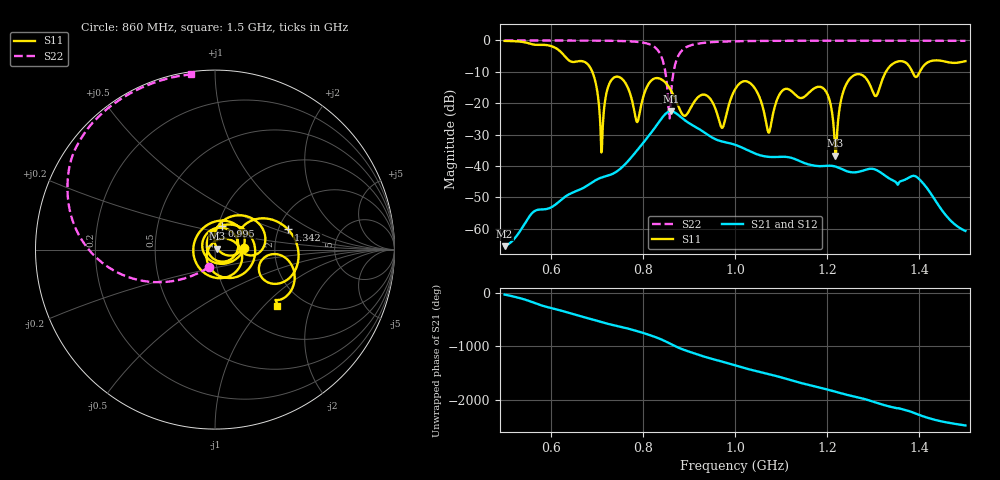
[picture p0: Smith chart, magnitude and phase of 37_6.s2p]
! TOUCHSTONE file generated by CST MICROWAVE STUDIO
! Date and time: Tue Nov 24 13:46:31 2020
! Project name: Scenario_1_Planar_Body_Tissue_Out_of_Line.cst
! Parameters = {dy1=276.8; L_HA=400; Ltissue=700; MT=2.54; Rad_Dielectric=30; Rad_Lower=7.3; Rad_Upper=30; Wtissue=700; a_HA=580; a_WG=246; b_HA=500; b_WG=121; c_HA=0; c_WG=187; d_feed=85; dx1=1039; h_feed=15; h_lower=18; h_upper=40; hfat=3; hgap=25; hmuscle=50; hskin=1.5}
! Header version: 2018
! Port assignment regex: !\s*Touchstone port\s*([0-9]+)\s*=\s*(CST MWS port|CST DS port)\s*([0-9]+|Zmin|Zmax)\s*\(\"(.*)\"\)(\s*mode\s*([0-9]+))?.*
! Touchstone port assignment:
! Touchstone port 1 = CST MWS port 1 ("")
! Touchstone port 2 = CST MWS port 2 ("")
# GHz S DB R 50
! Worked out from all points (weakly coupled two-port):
!   1003 points, 500 MHz to 1.5 GHz, reference 50 ohm
!   highest |S21| = -22.55 dB at 861 MHz (marker M1); lowest = -65.6 dB at 500 MHz (marker M2)
!   lowest |S11| = -36.8 dB at 1.218 GHz (marker M3), VSWR 1.03, Z = 51.4 + j0.454 ohm
!   |S11| at or under -10 dB: 690.3 MHz to 1.328 GHz (637.2 MHz wide, 63.2 % of centre); 1.385 GHz to 1.401 GHz (16.32 MHz wide, 1.17 % of centre)
!   |S22| runs from -24.9 to 0.0 dB; largest |S21 - S12| = 0.00017
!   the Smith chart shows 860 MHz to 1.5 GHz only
!   S11 on the Smith chart (normalised r, x): 860 MHz: 1.39, +0.02; 995 MHz: 1.04, +0.28; 1.342 GHz: 2.26, +0.62; 1.5 GHz: 1.49, -1.19
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0.5  -0.15 -121.7  -65.55 -27.9  -65.55 -27.9  -0.01 151.2
0.667  -6.58 145.5  -47.29 -80.2  -47.29 -80.2  -0.04 138.4
0.711  -35.07 170.8  -43.65 172.7  -43.65 172.7  -0.08 133.5
0.736  -11.97 167.4  -42.40 117.6  -42.40 117.6  -0.13 129.9
0.788  -26.01 135.2  -34.95 4.7  -34.95 4.7  -0.45 117.6
0.834  -12.04 83.9  -26.19 -128.6  -26.19 -128.6  -3.43 83.3
0.86  -15.68 2.8  -22.55 125.3  -22.55 125.3  -19.72 -109.4
0.861  -15.93 -0.7  -22.55 120.9  -22.55 120.9  -17.40 -119.7
0.888  -23.89 -124.2  -25.09 18.0  -25.09 18.0  -2.78 177.7
0.935  -17.33 24.6  -29.46 -118.0  -29.46 -118.0  -0.73 152.7
0.972  -27.85 -153.6  -32.21 153.3  -32.21 153.3  -0.37 144.4
0.995  -17.11 73.8  -33.00 96.3  -33.00 96.3  -0.28 140.8
1  -15.63 57.5  -33.23 83.5  -33.23 83.5  -0.27 140.2
1.073  -29.38 147.5  -37.10 -80.9  -37.10 -80.9  -0.14 132.1
1.103  -15.96 -18.7  -37.06 -149.2  -37.06 -149.2  -0.12 129.4
1.167  -15.78 81.7  -39.76 61.4  -39.76 61.4  -0.10 124.2
1.199  -16.67 -1.4  -39.94 -7.2  -39.94 -7.2  -0.09 121.7
1.218  -36.76 17.7  -40.19 -54.1  -40.19 -54.1  -0.09 120.3
1.248  -12.43 53.1  -41.89 -120.1  -41.89 -120.1  -0.09 118.0
1.334  -8.60 25.7  -43.90 33.3  -43.90 33.2  -0.09 111.5
1.342  -7.49 15.4  -44.54 16.6  -44.53 16.5  -0.09 110.9
1.5  -6.62 -42.1  -60.70 35.0  -60.70 35.0  -0.13 97.9
